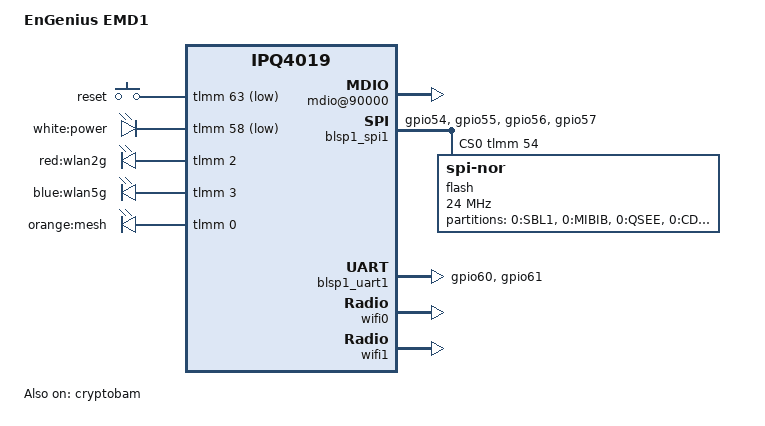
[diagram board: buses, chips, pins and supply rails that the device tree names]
// SPDX-License-Identifier: GPL-2.0-or-later

#include "qcom-ipq4019.dtsi"
#include <dt-bindings/gpio/gpio.h>
#include <dt-bindings/input/input.h>
#include <dt-bindings/soc/qcom,tcsr.h>

/ {
	model = "EnGenius EMD1";
	compatible = "engenius,emd1";

	aliases {
		led-boot = &led_power;
		led-failsafe = &led_power;
		led-running = &led_power;
		led-upgrade = &led_power;
	};

	soc {
		rng@22000 {
			status = "okay";
		};

		mdio@90000 {
			status = "okay";
		};

		ess-psgmii@98000 {
			status = "okay";
		};

		tcsr@1949000 {
			compatible = "qcom,tcsr";
			reg = <0x1949000 0x100>;
			qcom,wifi_glb_cfg = <TCSR_WIFI_GLB_CFG>;
		};

		ess_tcsr@1953000 {
			compatible = "qcom,tcsr";
			reg = <0x1953000 0x1000>;
			qcom,ess-interface-select = <TCSR_ESS_PSGMII>;
		};

		tcsr@1957000 {
			compatible = "qcom,tcsr";
			reg = <0x1957000 0x100>;
			qcom,wifi_noc_memtype_m0_m2 = <TCSR_WIFI_NOC_MEMTYPE_M0_M2>;
		};

		crypto@8e3a000 {
			status = "okay";
		};

		watchdog@b017000 {
			status = "okay";
		};

		ess-switch@c000000 {
			status = "okay";
			switch_lan_bmp = <0x20>;
			switch_wan_bmp = <0x00>;
		};

		edma@c080000 {
			status = "okay";
			qcom,num_gmac = <1>;
		};
	};

	keys {
		compatible = "gpio-keys";

		reset {
			label = "reset";
			gpios = <&tlmm 63 GPIO_ACTIVE_LOW>;
			linux,code = <KEY_RESTART>;
		};
	};

	leds {
		compatible = "gpio-leds";

		led_power: power {
			label = "white:power";
			gpios = <&tlmm 58 GPIO_ACTIVE_LOW>;
		};

		wlan2g {
			label = "red:wlan2g";
			gpios = <&tlmm 2 GPIO_ACTIVE_HIGH>;
			linux,default-trigger = "phy0tpt";
		};

		wlan5g {
			label = "blue:wlan5g";
			gpios = <&tlmm 3 GPIO_ACTIVE_HIGH>;
			linux,default-trigger = "phy1tpt";
		};

		mesh {
			label = "orange:mesh";
			gpios = <&tlmm 0 GPIO_ACTIVE_HIGH>;
		};
	};
};

&tlmm {
	serial_pins: serial_pinmux {
		mux {
			pins = "gpio60", "gpio61";
			function = "blsp_uart0";
			bias-disable;
		};
	};

	spi_0_pins: spi_0_pinmux {
		pin {
			function = "blsp_spi0";
			pins = "gpio54", "gpio55", "gpio56", "gpio57";
			drive-strength = <12>;
			bias-disable;
		};

		pin_cs {
			function = "gpio";
			pins = "gpio54";
			drive-strength = <2>;
			bias-disable;
			output-high;
		};
	};
};

&blsp_dma {
	status = "okay";
};

&blsp1_spi1 {
	pinctrl-0 = <&spi_0_pins>;
	pinctrl-names = "default";
	status = "okay";
	cs-gpios = <&tlmm 54 GPIO_ACTIVE_HIGH>;

	flash@0 {
		compatible = "jedec,spi-nor";
		reg = <0>;
		spi-max-frequency = <24000000>;
		partitions {
			compatible = "fixed-partitions";
			#address-cells = <1>;
			#size-cells = <1>;

			partition0@0 {
				label = "0:SBL1";
				reg = <0x00000000 0x00040000>;
				read-only;
			};
			partition1@40000 {
				label = "0:MIBIB";
				reg = <0x00040000 0x00020000>;
				read-only;
			};
			partition2@60000 {
				label = "0:QSEE";
				reg = <0x00060000 0x00060000>;
				read-only;
			};
			partition3@c0000 {
				label = "0:CDT";
				reg = <0x000c0000 0x00010000>;
				read-only;
			};
			partition4@d0000 {
				label = "0:DDRPARAMS";
				reg = <0x000d0000 0x00010000>;
				read-only;
			};
			partition5@e0000 {
				label = "0:APPSBLENV";
				reg = <0x000e0000 0x00010000>;
				read-only;
			};
			partition6@f0000 {
				label = "0:APPSBL";
				reg = <0x000f0000 0x00080000>;
				read-only;
			};
			partition7@170000 {
				label = "0:ART";
				reg = <0x00170000 0x00010000>;
				read-only;
			};
			partition8@180000 {
				label = "userconfig";
				reg = <0x00180000 0x00080000>;
				read-only;
			};
			partition9@200000 {
				compatible = "denx,fit";
				label = "firmware";
				reg = <0x200000 0x01e00000>;
			};
		};
	};
};

&blsp1_uart1 {
	pinctrl-0 = <&serial_pins>;
	pinctrl-names = "default";
	status = "okay";
};

&gmac0 {
	qcom,phy_mdio_addr = <4>;
	qcom,poll_required = <1>;
	qcom,forced_speed = <1000>;
	qcom,forced_duplex = <1>;
	vlan_tag = <1 0x20>;
};

&cryptobam {
	status = "okay";
};

&wifi0 {
	status = "okay";
	qcom,ath10k-calibration-variant = "EnGenius-EMD1";
};

&wifi1 {
	status = "okay";
	qcom,ath10k-calibration-variant = "EnGenius-EMD1";
};
